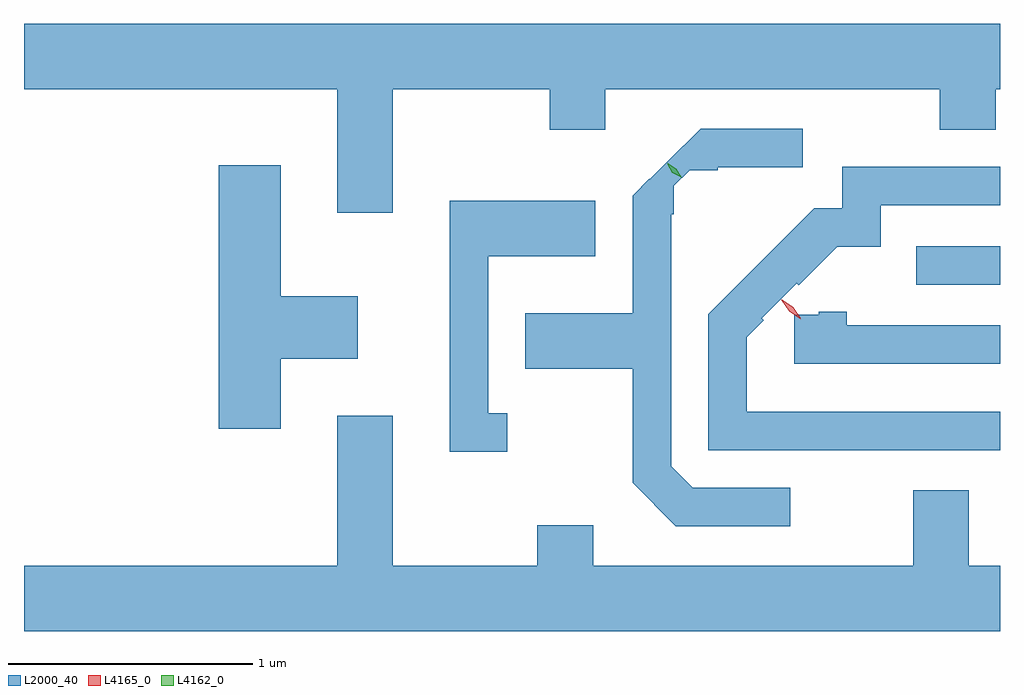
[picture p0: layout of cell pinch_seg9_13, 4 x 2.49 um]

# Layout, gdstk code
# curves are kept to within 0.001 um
import gdstk
lib = gdstk.Library(unit=1e-6, precision=1e-09)
def R(c, l, rs):  # rectangles x0, y0, x1, y1
    for r in rs: c.add(gdstk.rectangle(r[:2], r[2:], *l))
def P(c, l, *ps):  # polygons
    for p in ps: c.add(gdstk.Polygon(p, *l))
L2000_40 = (2000, 40)
L4162_0 = (4162, 0)
L4165_0 = (4165, 0)

pinch_seg9_13 = lib.new_cell('pinch_seg9_13')
R(pinch_seg9_13, L2000_40, [(1907.573,2017.656,1907.917,2017.814)])
P(pinch_seg9_13, L2000_40, [(1905.429,2018.456),(1906.071,2018.456),(1906.071,2018.291),(1906.299,2018.291),(1906.299,2018.456),(1907.671,2018.456),(1907.671,2018.291),(1907.899,2018.291),(1907.899,2018.456),(1907.917,2018.456),(1907.917,2018.724),(1903.917,2018.724),(1903.917,2018.456),(1905.201,2018.456),(1905.201,2017.951),(1905.429,2017.951)],
  [(1907.058,2016.824),(1906.657,2016.824),(1906.569,2016.912),(1906.569,2017.945),(1906.58,2017.945),(1906.58,2018.06),(1906.645,2018.125),(1906.76,2018.125),(1906.76,2018.136),(1907.108,2018.136),(1907.108,2018.294),(1906.69,2018.294),(1906.619,2018.223),(1906.618,2018.224),(1906.482,2018.087),(1906.48,2018.089),(1906.411,2018.02),(1906.411,2017.539),(1905.971,2017.539),(1905.971,2017.311),(1906.411,2017.311),(1906.411,2016.844),(1906.589,2016.666),(1907.058,2016.666)],
  [(1904.969,2017.351),(1905.284,2017.351),(1905.284,2017.609),(1904.969,2017.609),(1904.969,2018.144),(1904.716,2018.144),(1904.716,2017.066),(1904.969,2017.066)],
  [(1907.917,2017.134),(1906.879,2017.134),(1906.879,2017.441),(1906.948,2017.51),(1906.941,2017.517),(1907.085,2017.662),(1907.092,2017.654),(1907.251,2017.811),(1907.429,2017.811),(1907.429,2017.981),(1907.917,2017.981),(1907.917,2018.139),(1907.271,2018.139),(1907.271,2017.969),(1907.156,2017.969),(1906.721,2017.535),(1906.721,2016.976),(1907.917,2016.976)],
  [(1905.898,2017.129),(1905.819,2017.129),(1905.819,2017.771),(1906.259,2017.771),(1906.259,2017.999),(1905.661,2017.999),(1905.661,2016.971),(1905.898,2016.971)],
  [(1907.917,2017.489),(1907.289,2017.489),(1907.289,2017.544),(1907.175,2017.544),(1907.175,2017.533),(1907.073,2017.533),(1907.073,2017.331),(1907.917,2017.331)],
  [(1907.917,2016.504),(1907.789,2016.504),(1907.789,2016.814),(1907.561,2016.814),(1907.561,2016.504),(1906.249,2016.504),(1906.249,2016.669),(1906.021,2016.669),(1906.021,2016.504),(1905.429,2016.504),(1905.429,2017.119),(1905.201,2017.119),(1905.201,2016.504),(1903.917,2016.504),(1903.917,2016.236),(1907.917,2016.236)])
P(pinch_seg9_13, L4162_0, [(1906.612,2018.094),(1906.576,2018.117),(1906.554,2018.154),(1906.554,2018.154),(1906.555,2018.154),(1906.59,2018.131),(1906.613,2018.094),(1906.613,2018.094)],
  [(1906.606,2018.097),(1906.574,2018.115),(1906.556,2018.146),(1906.556,2018.147),(1906.557,2018.147),(1906.588,2018.129),(1906.606,2018.097),(1906.606,2018.097)])
P(pinch_seg9_13, L4165_0, [(1907.1,2017.513),(1907.054,2017.547),(1907.021,2017.593),(1907.021,2017.594),(1907.022,2017.594),(1907.068,2017.56),(1907.1,2017.514),(1907.1,2017.513)],
  [(1907.1,2017.517),(1907.055,2017.548),(1907.024,2017.593),(1907.024,2017.594),(1907.025,2017.594),(1907.07,2017.562),(1907.1,2017.518),(1907.1,2017.517)])

lib.write_gds('pinch_seg9_13.gds')
